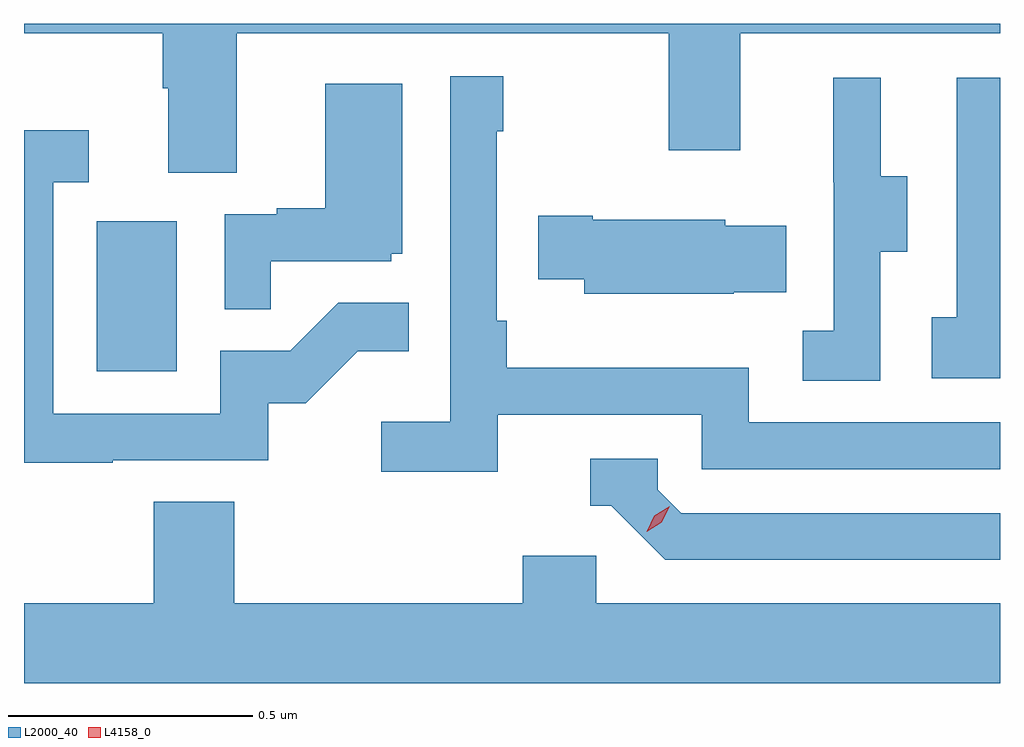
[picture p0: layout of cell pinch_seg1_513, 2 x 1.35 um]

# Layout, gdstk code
import gdstk
lib = gdstk.Library(unit=1e-6, precision=1e-09)
def R(c, l, rs):  # rectangles x0, y0, x1, y1
    for r in rs: c.add(gdstk.rectangle(r[:2], r[2:], *l))
def P(c, l, *ps):  # polygons
    for p in ps: c.add(gdstk.Polygon(p, *l))
L2000_40 = (2000, 40)
L4158_0 = (4158, 0)

pinch_seg1_513 = lib.new_cell('pinch_seg1_513')
R(pinch_seg1_513, L2000_40, [(1127.912,525.732,1128.076,526.039)])
P(pinch_seg1_513, L2000_40, [(1128.199,526.424),(1129.084,526.424),(1129.084,526.185),(1129.231,526.185),(1129.231,526.424),(1129.763,526.424),(1129.763,526.444),(1127.763,526.444),(1127.763,526.424),(1128.047,526.424),(1128.047,526.312),(1128.059,526.312),(1128.059,526.138),(1128.199,526.138)],
  [(1128.734,525.642),(1129.152,525.642),(1129.152,525.531),(1129.763,525.531),(1129.763,525.627),(1129.248,525.627),(1129.248,525.739),(1128.752,525.739),(1128.752,525.835),(1128.732,525.835),(1128.732,526.223),(1128.745,526.223),(1128.745,526.336),(1128.636,526.336),(1128.636,525.628),(1128.495,525.628),(1128.495,525.526),(1128.734,525.526)],
  [(1129.763,526.333),(1129.674,526.333),(1129.674,525.842),(1129.623,525.842),(1129.623,525.717),(1129.763,525.717)],
  [(1129.518,525.976),(1129.573,525.976),(1129.573,526.131),(1129.519,526.131),(1129.519,526.333),(1129.421,526.333),(1129.421,526.119),(1129.422,526.119),(1129.422,525.815),(1129.359,525.815),(1129.359,525.712),(1129.518,525.712)],
  [(1128.269,525.957),(1128.516,525.957),(1128.516,525.972),(1128.538,525.972),(1128.538,526.321),(1128.38,526.321),(1128.38,526.066),(1128.281,526.066),(1128.281,526.053),(1128.174,526.053),(1128.174,525.859),(1128.269,525.859)],
  [(1127.945,525.549),(1128.264,525.549),(1128.264,525.666),(1128.34,525.666),(1128.447,525.773),(1128.551,525.773),(1128.551,525.872),(1128.407,525.872),(1128.309,525.774),(1128.165,525.774),(1128.165,525.645),(1127.823,525.645),(1127.823,526.119),(1127.896,526.119),(1127.896,526.225),(1127.763,526.225),(1127.763,525.544),(1127.945,525.544)],
  [(1129.217,525.893),(1129.325,525.893),(1129.325,526.03),(1129.2,526.03),(1129.2,526.042),(1128.928,526.042),(1128.928,526.05),(1128.817,526.05),(1128.817,525.92),(1128.911,525.92),(1128.911,525.89),(1129.217,525.89)],
  [(1129.763,525.441),(1129.11,525.441),(1129.062,525.489),(1129.062,525.552),(1128.923,525.552),(1128.923,525.456),(1128.966,525.456),(1129.077,525.345),(1129.763,525.345)],
  [(1129.763,525.256),(1128.936,525.256),(1128.936,525.354),(1128.785,525.354),(1128.785,525.256),(1128.194,525.256),(1128.194,525.464),(1128.029,525.464),(1128.029,525.256),(1127.763,525.256),(1127.763,525.092),(1129.763,525.092)])
P(pinch_seg1_513, L4158_0, [(1129.039,525.403),(1129.039,525.403),(1129.055,525.436),(1129.086,525.455),(1129.086,525.455),(1129.086,525.455),(1129.07,525.422),(1129.039,525.403)])

lib.write_gds('pinch_seg1_513.gds')
